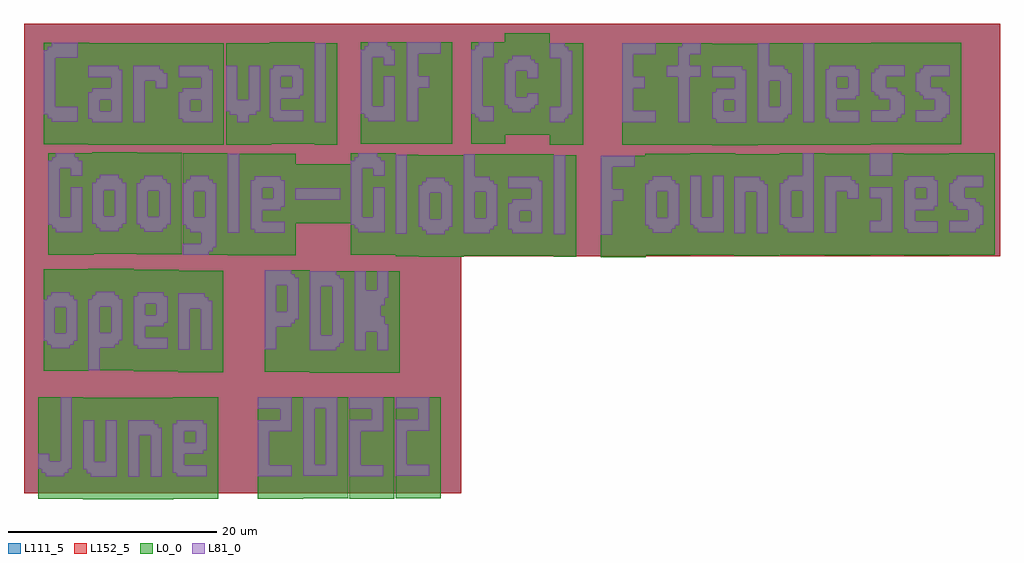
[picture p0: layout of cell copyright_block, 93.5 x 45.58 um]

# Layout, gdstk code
import gdstk
lib = gdstk.Library(unit=1e-6, precision=1e-09)
def R(c, l, rs):  # rectangles x0, y0, x1, y1
    for r in rs: c.add(gdstk.rectangle(r[:2], r[2:], *l))
L0_0 = (0, 0)
L81_0 = (81, 0)
L111_5 = (111, 5)
L152_5 = (152, 5)

font_4a = lib.new_cell('font_4A')
R(font_4a, L0_0, [(0,-2.16,4.32,7.56)])
R(font_4a, L81_0, [(0.72,0,2.52,0.36), (0.36,0.36,2.88,0.72), (0,0.72,3.24,1.44), (0,1.44,1.08,2.16), (2.16,1.44,3.24,7.56)])

font_75 = lib.new_cell('font_75')
R(font_75, L0_0, [(0,-2.16,4.32,7.56)])
R(font_75, L81_0, [(0.72,0,3.24,0.36), (0.36,0.36,3.24,0.72), (0,0.72,3.24,1.44), (0,1.44,1.08,5.4), (2.16,1.44,3.24,5.4)])

font_6e = lib.new_cell('font_6E')
R(font_6e, L0_0, [(0,-2.16,4.32,7.56)])
R(font_6e, L81_0, [(0,0,1.08,3.96), (2.16,0,3.24,3.96), (0,3.96,3.24,4.68), (0,4.68,2.88,5.04), (0,5.04,2.52,5.4)])

font_65 = lib.new_cell('font_65')
R(font_65, L0_0, [(0,-2.16,4.32,7.56)])
R(font_65, L81_0, [(0.36,0,3.24,0.36), (0,0.36,3.24,1.08), (0,1.08,1.08,2.16), (0,2.16,2.88,2.52), (0,2.52,3.24,3.24), (0,3.24,1.08,4.32), (2.16,3.24,3.24,4.32), (0,4.32,3.24,5.04), (0.36,5.04,2.88,5.4)])

font_32 = lib.new_cell('font_32')
R(font_32, L0_0, [(0,-2.16,4.32,7.56)])
R(font_32, L81_0, [(0,0,3.24,1.08), (0,1.08,1.08,4.32), (0,4.32,3.24,5.4), (2.16,5.4,3.24,6.48), (0,6.48,3.24,7.56)])

font_30 = lib.new_cell('font_30')
R(font_30, L0_0, [(0,-2.16,4.32,7.56)])
R(font_30, L81_0, [(0,0,3.24,1.08), (0,1.08,1.08,6.48), (2.16,1.08,3.24,6.48), (0,6.48,3.24,7.56)])

font_6f = lib.new_cell('font_6F')
R(font_6f, L0_0, [(0,-2.16,4.32,7.56)])
R(font_6f, L81_0, [(0.72,0,2.52,0.36), (0.36,0.36,2.88,0.72), (0,0.72,3.24,1.44), (0,1.44,1.08,3.96), (2.16,1.44,3.24,3.96), (0,3.96,3.24,4.68), (0.36,4.68,2.88,5.04), (0.72,5.04,2.52,5.4)])

font_70 = lib.new_cell('font_70')
R(font_70, L0_0, [(0,-2.16,4.32,7.56)])
R(font_70, L81_0, [(0,-2.16,1.08,0), (0,0,2.52,0.36), (0,0.36,2.88,0.72), (0,0.72,3.24,1.44), (0,1.44,1.08,3.96), (2.16,1.44,3.24,3.96), (0,3.96,3.24,4.68), (0.36,4.68,2.88,5.04), (0.72,5.04,2.52,5.4)])

font_50 = lib.new_cell('font_50')
R(font_50, L0_0, [(0,-2.16,4.32,7.56)])
R(font_50, L81_0, [(0,0,1.08,2.16), (0,2.16,2.52,2.52), (0,2.52,2.88,2.88), (0,2.88,3.24,3.6), (0,3.6,1.08,6.12), (2.16,3.6,3.24,6.12), (0,6.12,3.24,6.84), (0,6.84,2.88,7.2), (0,7.2,2.52,7.56)])

font_4b = lib.new_cell('font_4B')
R(font_4b, L0_0, [(0,-2.16,4.32,7.56)])
R(font_4b, L81_0, [(0,0,1.08,1.8), (2.16,0,3.24,1.8), (0,1.8,3.24,2.52), (0,2.52,2.88,3.24), (0,3.24,2.52,4.32), (0,4.32,2.88,5.04), (0,5.04,3.24,5.76), (0,5.76,1.08,7.56), (2.16,5.76,3.24,7.56)])

font_44 = lib.new_cell('font_44')
R(font_44, L0_0, [(0,-2.16,4.32,7.56)])
R(font_44, L81_0, [(0,0,2.52,0.36), (0,0.36,2.88,0.72), (0,0.72,3.24,1.44), (0,1.44,1.08,6.12), (2.16,1.44,3.24,6.12), (0,6.12,3.24,6.84), (0,6.84,2.88,7.2), (0,7.2,2.52,7.56)])

font_47 = lib.new_cell('font_47')
R(font_47, L0_0, [(0,-2.16,4.32,7.56)])
R(font_47, L81_0, [(0.72,0,3.24,0.36), (0.36,0.36,3.24,0.72), (0,0.72,3.24,1.44), (0,1.44,1.08,6.12), (2.16,1.44,3.24,4.32), (2.16,5.4,3.24,6.12), (0,6.12,3.24,6.84), (0.36,6.84,2.88,7.2), (0.72,7.2,2.52,7.56)])

font_67 = lib.new_cell('font_67')
R(font_67, L0_0, [(0,-2.16,4.32,7.56)])
R(font_67, L81_0, [(0,-2.16,2.52,-1.8), (0,-1.8,2.88,-1.44), (0,-1.44,3.24,-1.08), (1.8,-1.08,3.24,0), (0.72,0,3.24,0.36), (0.36,0.36,3.24,0.72), (0,0.72,3.24,1.44), (0,1.44,1.08,3.96), (2.16,1.44,3.24,3.96), (0,3.96,3.24,4.68), (0.36,4.68,2.88,5.04), (0.72,5.04,2.52,5.4)])

font_6c = lib.new_cell('font_6C')
R(font_6c, L0_0, [(0,-2.16,2.16,7.56)])
R(font_6c, L81_0, [(0,0,1.08,7.56)])

font_61 = lib.new_cell('font_61')
R(font_61, L0_0, [(0,-2.16,4.32,7.56)])
R(font_61, L81_0, [(0.36,0,3.24,0.36), (0,0.36,3.24,1.08), (0,1.08,1.08,2.16), (2.16,1.08,3.24,2.16), (0,2.16,3.24,2.88), (0.36,2.88,3.24,3.24), (2.16,3.24,3.24,4.32), (0,4.32,3.24,5.04), (0,5.04,2.88,5.4)])

font_62 = lib.new_cell('font_62')
R(font_62, L0_0, [(0,-2.16,4.32,7.56)])
R(font_62, L81_0, [(0,0,2.52,0.36), (0,0.36,2.88,0.72), (0,0.72,3.24,1.44), (0,1.44,1.08,3.96), (2.16,1.44,3.24,3.96), (0,3.96,3.24,4.68), (0,4.68,2.88,5.04), (0,5.04,2.52,5.4), (0,5.4,1.08,7.56)])

font_46 = lib.new_cell('font_46')
R(font_46, L0_0, [(0,-2.16,4.32,7.56)])
R(font_46, L81_0, [(0,0,1.08,3.24), (0,3.24,2.16,4.32), (0,4.32,1.08,6.48), (0,6.48,3.24,7.56)])

font_64 = lib.new_cell('font_64')
R(font_64, L0_0, [(0,-2.16,4.32,7.56)])
R(font_64, L81_0, [(0.72,0,3.24,0.36), (0.36,0.36,3.24,0.72), (0,0.72,3.24,1.44), (0,1.44,1.08,3.96), (2.16,1.44,3.24,3.96), (0,3.96,3.24,4.68), (0.36,4.68,3.24,5.04), (0.72,5.04,3.24,5.4), (2.16,5.4,3.24,7.56)])

font_69 = lib.new_cell('font_69')
R(font_69, L0_0, [(0,-2.16,3.24,7.56)])
R(font_69, L81_0, [(0,0,2.16,1.08), (1.08,1.08,2.16,3.24), (0,3.24,2.16,4.32), (0,5.4,2.16,7.56)])

font_72 = lib.new_cell('font_72')
R(font_72, L0_0, [(0,-2.16,4.32,7.56)])
R(font_72, L81_0, [(0,0,1.08,3.96), (2.16,3.24,3.24,3.96), (0,3.96,3.24,4.68), (0,4.68,2.88,5.04), (0,5.04,2.52,5.4)])

font_73 = lib.new_cell('font_73')
R(font_73, L0_0, [(0,-2.16,4.32,7.56)])
R(font_73, L81_0, [(0,0,2.52,0.36), (0,0.36,2.88,0.72), (0,0.72,3.24,1.08), (1.8,1.08,3.24,2.16), (0.72,2.16,3.24,2.52), (0.36,2.52,2.88,2.88), (0,2.88,2.52,3.24), (0,3.24,1.44,4.32), (0,4.32,3.24,4.68), (0.36,4.68,3.24,5.04), (0.72,5.04,3.24,5.4)])

font_2d = lib.new_cell('font_2D')
R(font_2d, L0_0, [(0,0.95,5.4,6.61)])
R(font_2d, L81_0, [(0,3.24,4.32,4.32)])

font_43 = lib.new_cell('font_43')
R(font_43, L0_0, [(0,-2.16,4.32,7.56)])
R(font_43, L81_0, [(0.72,0,3.24,0.36), (0.36,0.36,3.24,0.72), (0,0.72,3.24,1.44), (0,1.44,1.08,6.12), (0,6.12,3.24,6.84), (0.36,6.84,3.24,7.2), (0.72,7.2,3.24,7.56)])

font_76 = lib.new_cell('font_76')
R(font_76, L0_0, [(0,-2.16,4.32,7.56)])
R(font_76, L81_0, [(1.08,0,2.16,0.72), (0.36,0.72,2.88,1.08), (0,1.08,3.24,2.16), (0,2.16,1.08,5.4), (2.16,2.16,3.24,5.4)])

font_28 = lib.new_cell('font_28')
R(font_28, L0_0, [(0,-2.16,3.24,7.56)])
R(font_28, L81_0, [(0.72,0,2.16,0.36), (0.36,0.36,2.16,0.72), (0,0.72,2.16,1.44), (0,1.44,1.08,6.12), (0,6.12,2.16,6.84), (0.36,6.84,2.16,7.2), (0.72,7.2,2.16,7.56)])

font_63 = lib.new_cell('font_63')
R(font_63, L0_0, [(0,-2.16,4.32,7.56)])
R(font_63, L81_0, [(0.72,0,2.52,0.36), (0.36,0.36,2.88,0.72), (0,0.72,3.24,1.44), (0,1.44,1.08,3.96), (2.16,1.44,3.24,1.8), (2.16,3.24,3.24,3.96), (0,3.96,3.24,4.68), (0.36,4.68,2.88,5.04), (0.72,5.04,2.52,5.4)])

font_29 = lib.new_cell('font_29')
R(font_29, L0_0, [(0,-2.16,3.24,7.56)])
R(font_29, L81_0, [(0,0,1.44,0.36), (0,0.36,1.8,0.72), (0,0.72,2.16,1.44), (1.08,1.44,2.16,6.12), (0,6.12,2.16,6.84), (0,6.84,1.8,7.2), (0,7.2,1.44,7.56)])

font_45 = lib.new_cell('font_45')
R(font_45, L0_0, [(0,-2.16,4.32,7.56)])
R(font_45, L81_0, [(0,0,3.24,1.08), (0,1.08,1.08,3.24), (0,3.24,2.16,4.32), (0,4.32,1.08,6.48), (0,6.48,3.24,7.56)])

font_66 = lib.new_cell('font_66')
R(font_66, L0_0, [(0,-2.16,4.32,7.56)])
R(font_66, L81_0, [(1.08,0,2.16,4.32), (0,4.32,3.24,5.4), (1.08,5.4,2.16,6.48), (1.08,6.48,3.24,7.2), (1.44,7.2,3.24,7.56)])

copyright_block = lib.new_cell('copyright_block')
R(copyright_block, L111_5, [(-2.145,-31.655,39.755,-8.93), (-2.145,-8.93,91.35,13.335)])
R(copyright_block, L152_5, [(-2.145,-31.655,39.755,-8.93), (-2.145,-8.93,91.35,13.335)])
copyright_block.add(gdstk.Reference(font_4a, (-0.79,-30.035)))
copyright_block.add(gdstk.Reference(font_75, (3.515,-30.08)))
copyright_block.add(gdstk.Reference(font_6e, (7.82,-30.08)))
copyright_block.add(gdstk.Reference(font_65, (12.125,-30.04)))
copyright_block.add(gdstk.Reference(font_32, (20.265,-30.04)))
copyright_block.add(gdstk.Reference(font_30, (24.615,-29.995)))
copyright_block.add(gdstk.Reference(font_32, (29.015,-30.035)))
copyright_block.add(gdstk.Reference(font_32, (33.455,-29.995)))
copyright_block.add(gdstk.Reference(font_6f, (-0.275,-17.775)))
copyright_block.add(gdstk.Reference(font_70, (4.03,-17.73)))
copyright_block.add(gdstk.Reference(font_6e, (12.64,-17.915)))
copyright_block.add(gdstk.Reference(font_65, (8.38,-17.82)))
copyright_block.add(gdstk.Reference(font_50, (20.92,-17.87)))
copyright_block.add(gdstk.Reference(font_4b, (29.525,-17.96)))
copyright_block.add(gdstk.Reference(font_44, (25.225,-17.96)))
copyright_block.add(gdstk.Reference(font_6f, (4.395,-6.565)))
copyright_block.add(gdstk.Reference(font_47, (0.195,-6.65)))
copyright_block.add(gdstk.Reference(font_6f, (8.65,-6.615)))
copyright_block.add(gdstk.Reference(font_67, (13.045,-6.66)))
copyright_block.add(gdstk.Reference(font_6c, (17.39,-6.705)))
copyright_block.add(gdstk.Reference(font_65, (19.59,-6.705)))
copyright_block.add(gdstk.Reference(font_47, (29.155,-6.65)))
copyright_block.add(gdstk.Reference(font_6c, (33.455,-6.78)))
copyright_block.add(gdstk.Reference(font_6f, (35.655,-6.83)))
copyright_block.add(gdstk.Reference(font_61, (44.265,-6.735)))
copyright_block.add(gdstk.Reference(font_62, (39.96,-6.735)))
copyright_block.add(gdstk.Reference(font_6c, (48.615,-6.83)))
copyright_block.add(gdstk.Reference(font_46, (53.105,-6.875)))
copyright_block.add(gdstk.Reference(font_6f, (57.365,-6.695)))
copyright_block.add(gdstk.Reference(font_75, (61.67,-6.65)))
copyright_block.add(gdstk.Reference(font_6e, (65.88,-6.74)))
copyright_block.add(gdstk.Reference(font_64, (70.275,-6.65)))
copyright_block.add(gdstk.Reference(font_69, (78.885,-6.65)))
copyright_block.add(gdstk.Reference(font_72, (74.58,-6.695)))
copyright_block.add(gdstk.Reference(font_65, (82.16,-6.695)))
copyright_block.add(gdstk.Reference(font_73, (86.51,-6.65)))
copyright_block.add(gdstk.Reference(font_2d, (23.84,-6.755)))
copyright_block.add(gdstk.Reference(font_43, (-0.23,3.925)))
copyright_block.add(gdstk.Reference(font_61, (4.03,3.88)))
copyright_block.add(gdstk.Reference(font_61, (12.685,3.88)))
copyright_block.add(gdstk.Reference(font_72, (8.335,3.88)))
copyright_block.add(gdstk.Reference(font_65, (21.385,3.97)))
copyright_block.add(gdstk.Reference(font_76, (17.225,3.88)))
copyright_block.add(gdstk.Reference(font_6c, (25.69,3.88)))
copyright_block.add(gdstk.Reference(font_47, (30.135,3.97)))
copyright_block.add(gdstk.Reference(font_46, (34.535,3.97)))
copyright_block.add(gdstk.Reference(font_28, (40.7,4)))
copyright_block.add(gdstk.Reference(font_63, (43.9,4.85)))
copyright_block.add(gdstk.Reference(font_29, (48.2,3.91)))
copyright_block.add(gdstk.Reference(font_45, (55.15,3.91)))
copyright_block.add(gdstk.Reference(font_61, (63.8,3.86)))
copyright_block.add(gdstk.Reference(font_66, (59.45,3.91)))
copyright_block.add(gdstk.Reference(font_62, (68.15,3.91)))
copyright_block.add(gdstk.Reference(font_6c, (72.5,3.91)))
copyright_block.add(gdstk.Reference(font_65, (74.65,3.91)))
copyright_block.add(gdstk.Reference(font_73, (79,3.95)))
copyright_block.add(gdstk.Reference(font_73, (83.3,3.95)))

lib.write_gds('copyright_block.gds')
